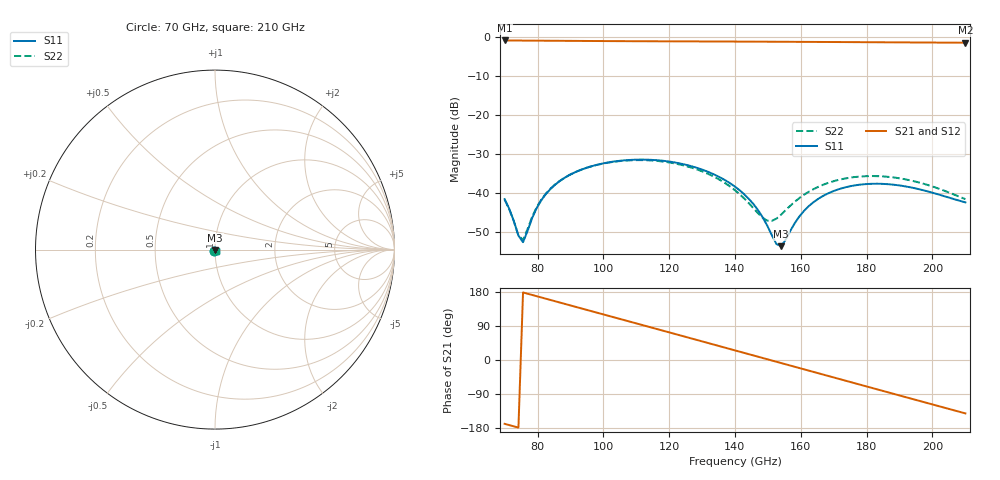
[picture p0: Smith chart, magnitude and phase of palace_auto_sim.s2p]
#  GHZ S DB R 50
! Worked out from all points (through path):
!   101 points, 70 GHz to 210 GHz, reference 50 ohm
!   highest |S21| = -0.90 dB at 70 GHz (marker M1); lowest = -1.5 dB at 210 GHz (marker M2)
!   group delay of S21, straight-line fit = 6.6 ps
!   lowest |S11| = -53.8 dB at 154 GHz (marker M3), VSWR 1.00, Z = 50.1 - j0.142 ohm
!   |S11| at or under -10 dB: start of sweep to end of sweep
!   |S22| runs from -52.2 to -31.7 dB; largest |S21 - S12| = 1.5e-13
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70  -41.69 -116.5  -0.90 -168.4  -0.90 -168.4  -41.80 -115.4
74.2  -51.07 -87.2  -0.92 -178.4  -0.92 -178.4  -50.98 -83.2
75.6  -52.76 -45.5  -0.93 178.2  -0.93 178.2  -52.19 -42.7
79.8  -43.89 5.6  -0.95 168.2  -0.95 168.2  -43.67 5.0
82.6  -40.31 7.0  -0.97 161.6  -0.97 161.6  -40.20 6.4
86.8  -37.01 2.6  -0.99 151.6  -0.99 151.6  -36.96 2.2
93.8  -33.95 -9.0  -1.03 135.0  -1.03 135.0  -33.95 -9.0
106.4  -31.71 -33.0  -1.08 105.1  -1.08 105.1  -31.80 -32.4
117.6  -31.78 -56.2  -1.12 78.6  -1.12 78.6  -31.98 -54.7
130.2  -34.14 -82.9  -1.16 48.7  -1.16 48.7  -34.61 -78.9
140  -38.48 -101.4  -1.19 25.3  -1.19 25.3  -39.40 -90.8
145.6  -42.95 -107.4  -1.21 12.0  -1.21 12.0  -44.01 -84.2
149.8  -48.50 -100.9  -1.22 2.0  -1.22 2.0  -47.21 -56.5
152.6  -53.23 -71.7  -1.23 -4.7  -1.23 -4.7  -46.68 -30.9
154  -53.77 -43.7  -1.24 -8.0  -1.24 -8.0  -45.67 -21.7
159.6  -46.08 0.6  -1.26 -21.3  -1.26 -21.3  -41.38 -8.9
163.8  -42.50 -0.2  -1.28 -31.3  -1.28 -31.3  -39.13 -10.7
173.6  -38.63 -14.9  -1.32 -54.6  -1.32 -54.6  -36.35 -24.8
180.6  -37.77 -27.2  -1.35 -71.3  -1.35 -71.3  -35.76 -37.2
187.6  -37.92 -38.6  -1.38 -87.9  -1.38 -87.9  -36.05 -49.2
198.8  -39.75 -51.1  -1.43 -114.4  -1.43 -114.4  -38.11 -64.3
210  -42.51 -50.0  -1.47 -140.9  -1.47 -140.9  -41.69 -66.1
